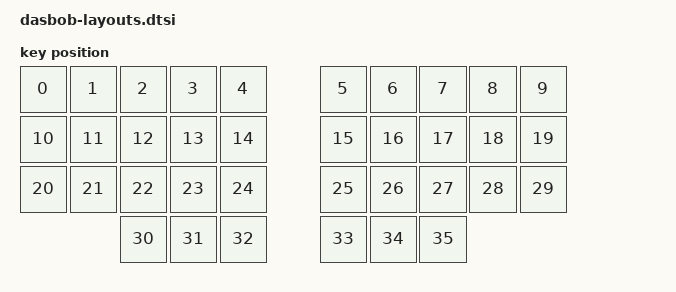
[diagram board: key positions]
/*
 * Copyright (c) 2021 The ZMK Contributors
 *
 * SPDX-License-Identifier: MIT
 *
 * keys order matches default_transform map + keymap (row-major). X uses a 1U
 * gap between halves (left 0–4, right 6–10 keyunits). Thumb row matches VIA
 * positions (left x 2–4, right x 5–7 → 600–800 on the right half). Y: 100–400.
 */

#include <physical_layouts.dtsi>

/ {
	dasbob_physical_layout: physical_layout_0 {
		compatible = "zmk,physical-layout";
		display-name = "Dasbob";
		transform = <&default_transform>;

		keys
			= <&key_physical_attrs 100 100    0  100       0       0       0>
			, <&key_physical_attrs 100 100  100  100       0       0       0>
			, <&key_physical_attrs 100 100  200  100       0       0       0>
			, <&key_physical_attrs 100 100  300  100       0       0       0>
			, <&key_physical_attrs 100 100  400  100       0       0       0>
			, <&key_physical_attrs 100 100  600  100       0       0       0>
			, <&key_physical_attrs 100 100  700  100       0       0       0>
			, <&key_physical_attrs 100 100  800  100       0       0       0>
			, <&key_physical_attrs 100 100  900  100       0       0       0>
			, <&key_physical_attrs 100 100 1000  100       0       0       0>

			, <&key_physical_attrs 100 100    0  200       0       0       0>
			, <&key_physical_attrs 100 100  100  200       0       0       0>
			, <&key_physical_attrs 100 100  200  200       0       0       0>
			, <&key_physical_attrs 100 100  300  200       0       0       0>
			, <&key_physical_attrs 100 100  400  200       0       0       0>
			, <&key_physical_attrs 100 100  600  200       0       0       0>
			, <&key_physical_attrs 100 100  700  200       0       0       0>
			, <&key_physical_attrs 100 100  800  200       0       0       0>
			, <&key_physical_attrs 100 100  900  200       0       0       0>
			, <&key_physical_attrs 100 100 1000  200       0       0       0>

			, <&key_physical_attrs 100 100    0  300       0       0       0>
			, <&key_physical_attrs 100 100  100  300       0       0       0>
			, <&key_physical_attrs 100 100  200  300       0       0       0>
			, <&key_physical_attrs 100 100  300  300       0       0       0>
			, <&key_physical_attrs 100 100  400  300       0       0       0>
			, <&key_physical_attrs 100 100  600  300       0       0       0>
			, <&key_physical_attrs 100 100  700  300       0       0       0>
			, <&key_physical_attrs 100 100  800  300       0       0       0>
			, <&key_physical_attrs 100 100  900  300       0       0       0>
			, <&key_physical_attrs 100 100 1000  300       0       0       0>

			, <&key_physical_attrs 100 100  200  400       0       0       0>
			, <&key_physical_attrs 100 100  300  400       0       0       0>
			, <&key_physical_attrs 100 100  400  400       0       0       0>
			, <&key_physical_attrs 100 100  600  400       0       0       0>
			, <&key_physical_attrs 100 100  700  400       0       0       0>
			, <&key_physical_attrs 100 100  800  400       0       0       0>
			;
	};
};
